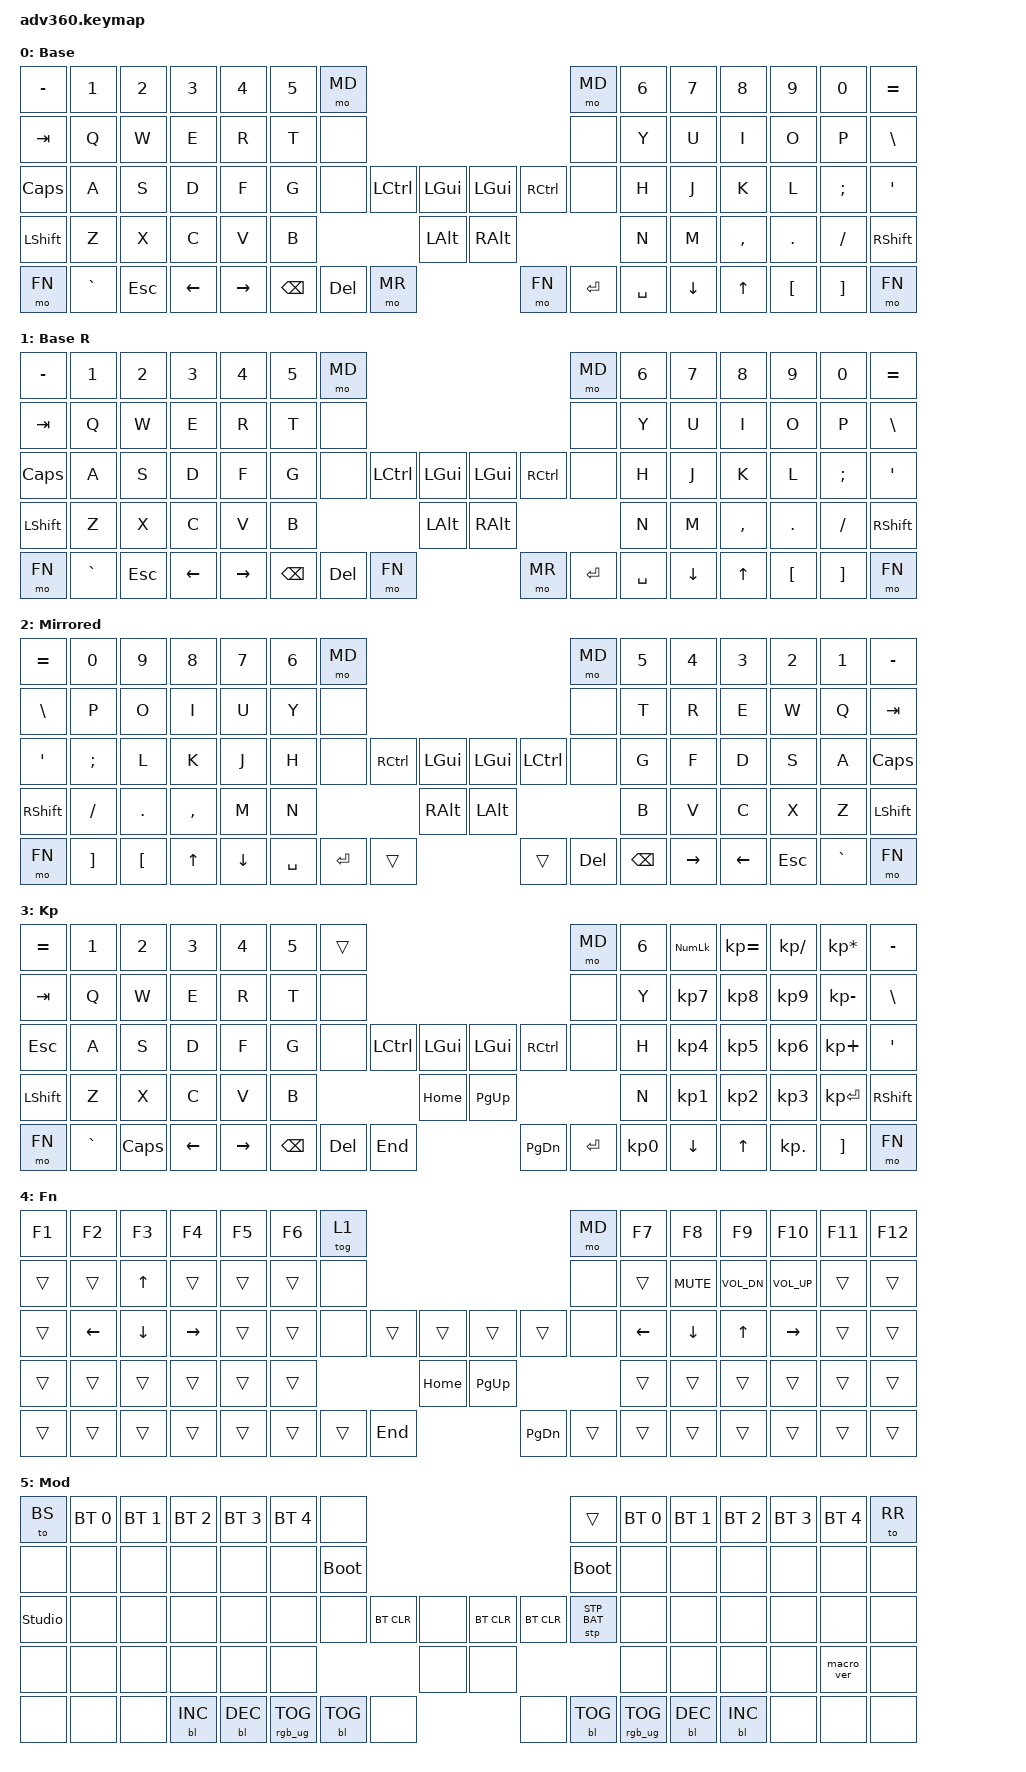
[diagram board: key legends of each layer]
#include <behaviors.dtsi>
#include <dt-bindings/zmk/keys.h>
#include <dt-bindings/zmk/bt.h>
#include <dt-bindings/zmk/rgb.h>
#include <dt-bindings/zmk/stp.h>
#include <dt-bindings/zmk/backlight.h>
#include <dt-bindings/zmk/pointing.h>

#define BS 0  // Base
#define RR 1  // Right-dominant base
#define MR 2  // Mirrored
#define FN 4  // Fn
#define MD 5  // Mod

/ {
    behaviors {
      #include "macros.dtsi"
      #include "version.dtsi"

      hm: homerow_mods {
          compatible = "zmk,behavior-hold-tap";
          label = "HOMEROW_MODS";
          #binding-cells = <2>;
          tapping-term-ms = <200>;
          quick_tap_ms = <175>;
          flavor = "tap-preferred";
          bindings = <&kp>, <&kp>;
      };
    };

  keymap {
    compatible = "zmk,keymap";

    default_layer {
      display-name = "Base";
      bindings = <
        &kp MINUS &kp N1    &kp N2   &kp N3   &kp N4     &kp N5 &mo MD                                                            &mo MD &kp N6 &kp N7 &kp N8    &kp N9   &kp N0   &kp EQUAL
        &kp TAB   &kp Q     &kp W    &kp E    &kp R      &kp T  &none                                                            &none &kp Y  &kp U  &kp I     &kp O    &kp P    &kp BSLH
        &kp CAPS  &kp A     &kp S    &kp D    &kp F      &kp G  &none           &kp LCTRL &kp LGUI &kp LGUI  &kp RCTRL           &none &kp H  &kp J  &kp K     &kp L    &kp SEMI &kp SQT
        &kp LSHFT &kp Z     &kp X    &kp C    &kp V      &kp B                            &kp LALT &kp RALT                            &kp N  &kp M  &kp COMMA &kp DOT  &kp FSLH &kp RSHFT
        &mo FN    &kp GRAVE &kp ESC  &kp LEFT &kp RIGHT                &kp BSPC &kp DEL   &mo MR   &mo FN    &kp ENTER &kp SPACE              &kp DOWN &kp UP  &kp LBKT &kp RBKT &mo FN
      >;
    };

    extra2 {
      // Copy of Base but can trigger mirroring from the RHS instead of LHS
      // To switch between LHS/RHS dominant:
      // - LHS: Mod + -
      // - LHS: Mod + =
      display-name = "Base R";
      bindings = <
        &kp MINUS &kp N1    &kp N2   &kp N3   &kp N4     &kp N5 &mo MD                                                          &mo MD &kp N6 &kp N7 &kp N8    &kp N9   &kp N0   &kp EQUAL
        &kp TAB   &kp Q     &kp W    &kp E    &kp R      &kp T  &none                                                            &none &kp Y  &kp U  &kp I     &kp O    &kp P    &kp BSLH
        &kp CAPS  &kp A     &kp S    &kp D    &kp F      &kp G  &none           &kp LCTRL &kp LGUI &kp LGUI  &kp RCTRL           &none &kp H  &kp J  &kp K     &kp L    &kp SEMI &kp SQT
        &kp LSHFT &kp Z     &kp X    &kp C    &kp V      &kp B                            &kp LALT &kp RALT                            &kp N  &kp M  &kp COMMA &kp DOT  &kp FSLH &kp RSHFT
        &mo FN    &kp GRAVE &kp ESC  &kp LEFT &kp RIGHT                &kp BSPC &kp DEL   &mo FN   &mo MR    &kp ENTER &kp SPACE              &kp DOWN &kp UP  &kp LBKT &kp RBKT &mo FN
      >;
    };

    extra1 {
      display-name = "Mirrored";
      bindings = <
        &kp EQUAL &kp N0    &kp N9   &kp N8   &kp N7     &kp N6 &mo MD                                                          &mo MD &kp N5 &kp N4 &kp N3    &kp N2   &kp N1   &kp MINUS
        &kp BSLH  &kp P     &kp O    &kp I    &kp U      &kp Y  &none                                                            &none &kp T  &kp R  &kp E     &kp W    &kp Q    &kp TAB
        &kp SQT   &kp SEMI  &kp L    &kp K    &kp J      &kp H  &none           &kp RCTRL &kp LGUI &kp LGUI  &kp LCTRL           &none &kp G  &kp F  &kp D     &kp S    &kp A    &kp CAPS
        &kp RSHFT &kp FSLH  &kp DOT  &kp COMMA &kp M     &kp N                            &kp RALT &kp LALT                            &kp B  &kp V  &kp C     &kp X    &kp Z    &kp LSHFT
        &mo FN    &kp RBKT  &kp LBKT &kp UP   &kp DOWN                &kp SPACE &kp ENTER &trans   &trans    &kp DEL &kp BSPC              &kp RIGHT &kp LEFT  &kp ESC  &kp GRAVE &mo FN
      >;
    };

    keypad {
      display-name = "Kp";
      bindings = <
        &kp EQUAL &kp N1    &kp N2   &kp N3   &kp N4     &kp N5 &trans                                                          &mo MD &kp N6 &kp KP_NUM &kp KP_EQUAL &kp KP_DIVIDE &kp KP_MULTIPLY &kp MINUS
        &kp TAB   &kp Q     &kp W    &kp E    &kp R      &kp T  &none                                                            &none &kp Y  &kp KP_N7  &kp KP_N8    &kp KP_N9     &kp KP_MINUS    &kp BSLH
        &kp ESC   &kp A     &kp S    &kp D    &kp F      &kp G  &none           &kp LCTRL &kp LGUI &kp LGUI  &kp RCTRL           &none &kp H  &kp KP_N4  &kp KP_N5    &kp KP_N6     &kp KP_PLUS     &kp SQT
        &kp LSHFT &kp Z     &kp X    &kp C    &kp V      &kp B                            &kp HOME &kp PG_UP                           &kp N  &kp KP_N1  &kp KP_N2    &kp KP_N3     &kp KP_ENTER    &kp RSHFT
        &mo FN    &kp GRAVE &kp CAPS &kp LEFT &kp RIGHT                &kp BSPC &kp DEL   &kp END  &kp PG_DN &kp ENTER &kp KP_N0              &kp DOWN   &kp UP       &kp KP_DOT    &kp RBKT        &mo FN
      >;
    };
    fn {
      display-name = "Fn";
      bindings = <
        &kp F1 &kp F2 &kp F3 &kp F4 &kp F5 &kp F6 &tog 1                                          &mo MD &kp F7 &kp F8 &kp F9 &kp F10 &kp F11 &kp F12
        &trans &trans &kp UP &trans &trans &trans  &none                                           &none &trans &kp C_MUTE &kp C_VOL_DN &kp C_VOL_UP &trans &trans
        &trans &kp LEFT &kp DOWN &kp RIGHT &trans &trans &none  &trans &trans &trans &trans        &none &kp LEFT &kp DOWN &kp UP &kp RIGHT &trans &trans
        &trans &trans &trans &trans &trans &trans                      &kp HOME &kp PG_UP                &trans &trans &trans &trans  &trans  &trans
        &trans &trans &trans &trans &trans               &trans &trans &kp END &kp PG_DN &trans &trans          &trans &trans &trans  &trans  &trans
      >;
    };
    mod {
      display-name = "Mod";
      bindings = <
        &to BS &bt BT_SEL 0 &bt BT_SEL 1 &bt BT_SEL 2 &bt BT_SEL 3 &bt BT_SEL 4 &none                                                                     &trans                 &bt BT_SEL 0 &bt BT_SEL 1 &bt BT_SEL 2 &bt BT_SEL 3 &bt BT_SEL 4 &to RR
        &none &none        &none        &none        &none        &none        &bootloader                                                               &bootloader            &none        &none        &none        &none &none &none
        &studio_unlock &none        &none        &none        &none        &none        &none              &bt BT_CLR &none &bt BT_CLR &bt BT_CLR                 &stp STP_BAT &none        &none        &none        &none &none &none
        &none &none        &none        &none        &none        &none                                      &none &none                                                        &none        &none        &none        &none &macro_ver &none
        &none &none        &none        &bl BL_INC   &bl BL_DEC                         &rgb_ug RGB_TOG &bl BL_TOG &none      &none &bl BL_TOG &rgb_ug RGB_TOG                              &bl BL_DEC   &bl BL_INC   &none &none &none
      >;
    };

    extra3 { 
      display-name = "Cyan";    
      status = "reserved";
    };

    extra4 { 
      display-name = "Yellow";    
      status = "reserved";
    };
  };
};
